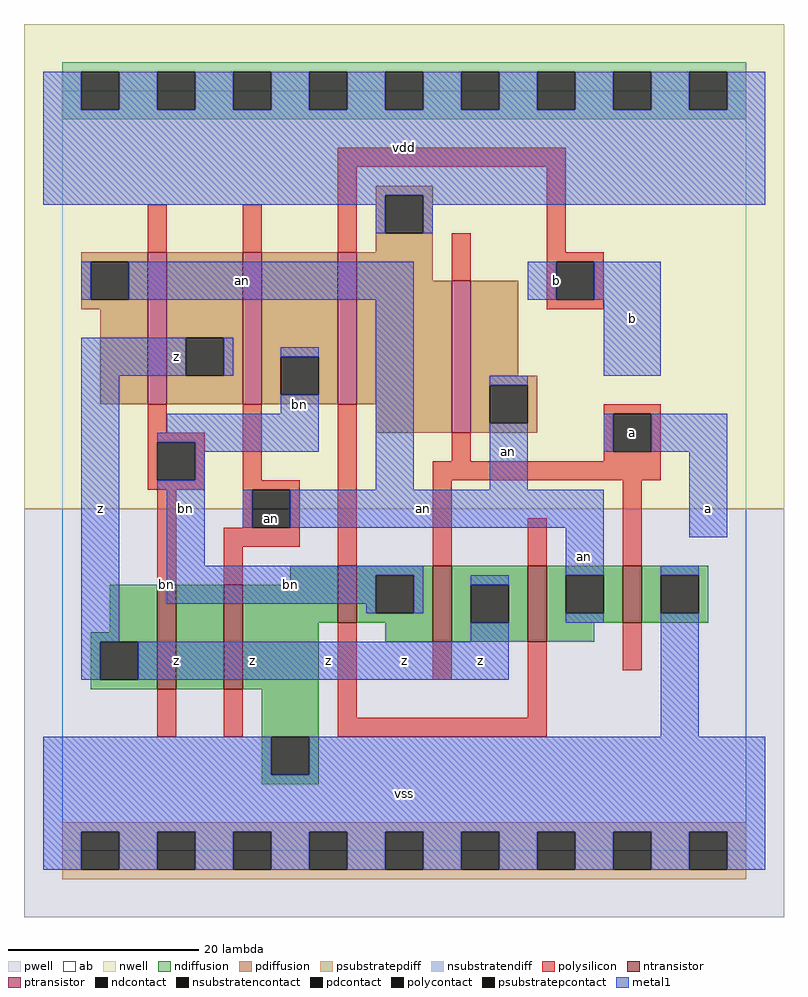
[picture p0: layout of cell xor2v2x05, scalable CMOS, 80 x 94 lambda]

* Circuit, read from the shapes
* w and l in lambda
.subckt xor2v2x05 a an b bn vdd vss z
M1 n1 bn z vss nfet w=11 l=2
M2 vss an n1 vss nfet w=11 l=2
M3 bn b vss vss nfet w=6 l=2
M4 z a bn vss nfet w=8 l=2
M5 an b z vss nfet w=8 l=2
M6 vss a an vss nfet w=6 l=2
M7 z bn an vdd pfet w=16 l=2
M8 bn an z vdd pfet w=16 l=2
M9 vdd b bn vdd pfet w=16 l=2
M10 an a vdd vdd pfet w=16 l=2
.ends

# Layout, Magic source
magic
tech scmos
<< ab >>
rect 0 0 72 80
<< pwell >>
rect -4 -7 76 36
<< nwell >>
rect -4 36 76 87
<< polysilicon >>
rect 29 72 53 74
rect 9 63 11 68
rect 19 63 21 68
rect 29 63 31 72
rect 41 60 43 65
rect 51 63 53 72
rect 51 62 57 63
rect 9 44 11 47
rect 9 43 15 44
rect 9 39 10 43
rect 14 39 15 43
rect 9 38 15 39
rect 19 39 21 47
rect 19 38 25 39
rect 10 28 12 38
rect 19 34 20 38
rect 24 34 25 38
rect 17 32 25 34
rect 17 28 19 32
rect 29 30 31 47
rect 51 58 52 62
rect 56 58 57 62
rect 51 57 57 58
rect 57 46 63 47
rect 41 41 43 44
rect 57 42 58 46
rect 62 42 63 46
rect 57 41 63 42
rect 39 39 63 41
rect 39 30 41 39
rect 49 30 51 35
rect 59 30 61 39
rect 10 12 12 17
rect 17 12 19 17
rect 29 14 31 24
rect 39 18 41 22
rect 49 14 51 22
rect 59 19 61 24
rect 29 12 51 14
<< ndiffusion >>
rect 24 28 29 30
rect 5 23 10 28
rect 3 22 10 23
rect 3 18 4 22
rect 8 18 10 22
rect 3 17 10 18
rect 12 17 17 28
rect 19 24 29 28
rect 31 29 39 30
rect 31 25 33 29
rect 37 25 39 29
rect 31 24 39 25
rect 19 17 27 24
rect 21 12 27 17
rect 34 22 39 24
rect 41 28 49 30
rect 41 24 43 28
rect 47 24 49 28
rect 41 22 49 24
rect 51 29 59 30
rect 51 25 53 29
rect 57 25 59 29
rect 51 24 59 25
rect 61 29 68 30
rect 61 25 63 29
rect 67 25 68 29
rect 61 24 68 25
rect 51 22 56 24
rect 21 8 22 12
rect 26 8 27 12
rect 21 7 27 8
<< pdiffusion >>
rect 33 69 39 70
rect 33 65 34 69
rect 38 65 39 69
rect 33 63 39 65
rect 2 62 9 63
rect 2 58 3 62
rect 7 58 9 62
rect 2 57 9 58
rect 4 47 9 57
rect 11 54 19 63
rect 11 50 13 54
rect 17 50 19 54
rect 11 47 19 50
rect 21 52 29 63
rect 21 48 23 52
rect 27 48 29 52
rect 21 47 29 48
rect 31 60 39 63
rect 31 47 41 60
rect 33 44 41 47
rect 43 50 48 60
rect 43 49 50 50
rect 43 45 45 49
rect 49 45 50 49
rect 43 44 50 45
<< metal1 >>
rect -2 78 2 82
rect 6 78 10 82
rect 14 78 18 82
rect 22 78 26 82
rect 30 78 34 82
rect 38 78 42 82
rect 46 78 50 82
rect 54 78 58 82
rect 62 78 66 82
rect 70 78 74 82
rect -2 69 74 78
rect -2 68 34 69
rect 33 65 34 68
rect 38 68 74 69
rect 38 65 39 68
rect 2 58 3 62
rect 7 58 37 62
rect 49 58 52 62
rect 56 58 63 62
rect 2 50 13 54
rect 17 50 18 54
rect 23 52 27 53
rect 2 22 6 50
rect 23 46 27 48
rect 11 44 27 46
rect 10 43 27 44
rect 14 42 27 43
rect 14 39 15 42
rect 10 38 15 39
rect 33 38 37 58
rect 57 50 63 58
rect 45 49 49 50
rect 45 38 49 45
rect 57 42 58 46
rect 62 42 70 46
rect 11 30 15 38
rect 19 34 20 38
rect 24 34 57 38
rect 11 29 38 30
rect 53 29 57 34
rect 66 33 70 42
rect 11 26 33 29
rect 32 25 33 26
rect 37 25 38 29
rect 43 28 47 29
rect 53 24 57 25
rect 63 29 67 30
rect 43 22 47 24
rect 2 18 4 22
rect 8 18 47 22
rect 63 12 67 25
rect -2 8 22 12
rect 26 8 74 12
rect -2 2 74 8
rect -2 -2 2 2
rect 6 -2 10 2
rect 14 -2 18 2
rect 22 -2 26 2
rect 30 -2 34 2
rect 38 -2 42 2
rect 46 -2 50 2
rect 54 -2 58 2
rect 62 -2 66 2
rect 70 -2 74 2
<< ntransistor >>
rect 10 17 12 28
rect 17 17 19 28
rect 29 24 31 30
rect 39 22 41 30
rect 49 22 51 30
rect 59 24 61 30
<< ptransistor >>
rect 9 47 11 63
rect 19 47 21 63
rect 29 47 31 63
rect 41 44 43 60
<< polycontact >>
rect 10 39 14 43
rect 20 34 24 38
rect 52 58 56 62
rect 58 42 62 46
<< ndcontact >>
rect 4 18 8 22
rect 33 25 37 29
rect 43 24 47 28
rect 53 25 57 29
rect 63 25 67 29
rect 22 8 26 12
<< pdcontact >>
rect 34 65 38 69
rect 3 58 7 62
rect 13 50 17 54
rect 23 48 27 52
rect 45 45 49 49
<< psubstratepcontact >>
rect 2 -2 6 2
rect 10 -2 14 2
rect 18 -2 22 2
rect 26 -2 30 2
rect 34 -2 38 2
rect 42 -2 46 2
rect 50 -2 54 2
rect 58 -2 62 2
rect 66 -2 70 2
<< nsubstratencontact >>
rect 2 78 6 82
rect 10 78 14 82
rect 18 78 22 82
rect 26 78 30 82
rect 34 78 38 82
rect 42 78 46 82
rect 50 78 54 82
rect 58 78 62 82
rect 66 78 70 82
<< psubstratepdiff >>
rect 0 2 72 3
rect 0 -2 2 2
rect 6 -2 10 2
rect 14 -2 18 2
rect 22 -2 26 2
rect 30 -2 34 2
rect 38 -2 42 2
rect 46 -2 50 2
rect 54 -2 58 2
rect 62 -2 66 2
rect 70 -2 72 2
rect 0 -3 72 -2
<< nsubstratendiff >>
rect 0 82 72 83
rect 0 78 2 82
rect 6 78 10 82
rect 14 78 18 82
rect 22 78 26 82
rect 30 78 34 82
rect 38 78 42 82
rect 46 78 50 82
rect 54 78 58 82
rect 62 78 66 82
rect 70 78 72 82
rect 0 77 72 78
<< labels >>
rlabel polycontact 22 35 22 35 6 an
rlabel polysilicon 11 28 11 28 6 bn
rlabel metal1 4 36 4 36 6 z
rlabel metal1 12 20 12 20 6 z
rlabel metal1 20 20 20 20 6 z
rlabel metal1 13 36 13 36 6 bn
rlabel metal1 25 47 25 47 6 bn
rlabel metal1 12 52 12 52 6 z
rlabel metal1 36 6 36 6 6 vss
rlabel metal1 28 20 28 20 6 z
rlabel metal1 24 28 24 28 6 bn
rlabel metal1 36 20 36 20 6 z
rlabel metal1 19 60 19 60 6 an
rlabel metal1 36 74 36 74 6 vdd
rlabel metal1 44 20 44 20 6 z
rlabel metal1 55 31 55 31 6 an
rlabel metal1 38 36 38 36 6 an
rlabel metal1 47 42 47 42 6 an
rlabel metal1 52 60 52 60 6 b
rlabel polycontact 60 44 60 44 6 a
rlabel metal1 68 36 68 36 6 a
rlabel metal1 60 56 60 56 6 b
<< end >>
